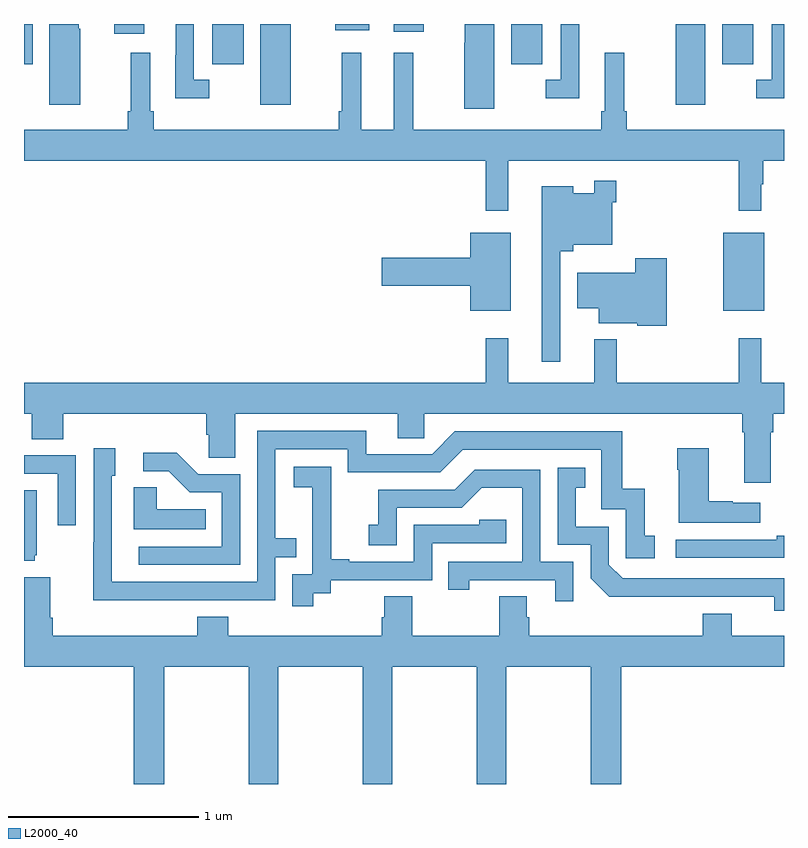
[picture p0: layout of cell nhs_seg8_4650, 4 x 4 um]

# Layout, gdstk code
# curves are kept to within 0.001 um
import gdstk
lib = gdstk.Library(unit=1e-6, precision=1e-09)
def R(c, l, rs):  # rectangles x0, y0, x1, y1
    for r in rs: c.add(gdstk.rectangle(r[:2], r[2:], *l))
def P(c, l, *ps):  # polygons
    for p in ps: c.add(gdstk.Polygon(p, *l))
L2000_40 = (2000, 40)

nhs_seg8_4650 = lib.new_cell('nhs_seg8_4650')
R(nhs_seg8_4650, L2000_40, [(396.68,1102.391,396.895,1102.801), (394.244,1103.475,394.405,1103.9), (396.431,1103.475,396.586,1103.9), (393,1103.688,393.046,1103.9), (393.992,1103.688,394.156,1103.9), (395.564,1103.688,395.728,1103.9), (396.674,1103.688,396.838,1103.9), (393.476,1103.85,393.634,1103.9), (394.946,1103.858,395.104,1103.9), (394.637,1103.867,394.816,1103.9)])
P(nhs_seg8_4650, L2000_40, [(395.476,1103.9),(395.321,1103.9),(395.321,1103.802),(395.318,1103.802),(395.318,1103.454),(395.476,1103.454)],
  [(393.295,1103.874),(393.289,1103.874),(393.289,1103.9),(393.134,1103.9),(393.134,1103.475),(393.295,1103.475)],
  [(393.976,1103.607),(393.894,1103.607),(393.894,1103.9),(393.798,1103.9),(393.798,1103.736),(393.797,1103.736),(393.797,1103.51),(393.976,1103.51)],
  [(395.923,1103.736),(395.922,1103.736),(395.922,1103.9),(395.826,1103.9),(395.826,1103.607),(395.745,1103.607),(395.745,1103.51),(395.923,1103.51)],
  [(397,1103.9),(396.936,1103.9),(396.936,1103.607),(396.855,1103.607),(396.855,1103.51),(397,1103.51)],
  [(395.548,1103.18),(396.763,1103.18),(396.763,1102.917),(396.88,1102.917),(396.88,1103.057),(396.892,1103.057),(396.892,1103.18),(397,1103.18),(397,1103.344),(396.173,1103.344),(396.173,1103.44),(396.158,1103.44),(396.158,1103.749),(396.056,1103.749),(396.056,1103.44),(396.037,1103.44),(396.037,1103.344),(395.048,1103.344),(395.048,1103.749),(394.946,1103.749),(394.946,1103.344),(394.774,1103.344),(394.774,1103.749),(394.672,1103.749),(394.672,1103.44),(394.657,1103.44),(394.657,1103.344),(393.683,1103.344),(393.683,1103.44),(393.664,1103.44),(393.664,1103.749),(393.562,1103.749),(393.562,1103.44),(393.547,1103.44),(393.547,1103.344),(393,1103.344),(393,1103.18),(395.431,1103.18),(395.431,1102.917),(395.548,1102.917)],
  [(395.823,1102.703),(395.89,1102.703),(395.89,1102.739),(396.096,1102.739),(396.096,1102.961),(396.116,1102.961),(396.116,1103.074),(396,1103.074),(396,1103.008),(395.89,1103.008),(395.89,1103.047),(395.726,1103.047),(395.726,1102.122),(395.823,1102.122)],
  [(395.563,1102.801),(395.348,1102.801),(395.348,1102.67),(394.884,1102.67),(394.884,1102.523),(395.348,1102.523),(395.348,1102.391),(395.563,1102.391)],
  [(396.382,1102.666),(396.217,1102.666),(396.217,1102.591),(395.912,1102.591),(395.912,1102.403),(396.026,1102.403),(396.026,1102.325),(396.228,1102.325),(396.228,1102.313),(396.382,1102.313)],
  [(396.763,1102.012),(396.119,1102.012),(396.119,1102.24),(396.002,1102.24),(396.002,1102.012),(395.549,1102.012),(395.549,1102.246),(395.431,1102.246),(395.431,1102.012),(393,1102.012),(393,1101.848),(393.041,1101.848),(393.041,1101.715),(393.206,1101.715),(393.206,1101.848),(393.959,1101.848),(393.959,1101.739),(393.972,1101.739),(393.972,1101.616),(394.111,1101.616),(394.111,1101.848),(394.967,1101.848),(394.967,1101.721),(395.106,1101.721),(395.106,1101.848),(396.779,1101.848),(396.779,1101.752),(396.791,1101.752),(396.791,1101.486),(396.931,1101.486),(396.931,1101.752),(396.944,1101.752),(396.944,1101.848),(397,1101.848),(397,1102.012),(396.881,1102.012),(396.881,1102.246),(396.763,1102.246)],
  [(393.827,1100.868),(394.323,1100.868),(394.323,1101.093),(394.433,1101.093),(394.433,1101.194),(394.323,1101.194),(394.323,1101.663),(394.704,1101.663),(394.704,1101.54),(395.19,1101.54),(395.31,1101.66),(396.039,1101.66),(396.039,1101.345),(396.168,1101.345),(396.168,1101.087),(396.319,1101.087),(396.319,1101.207),(396.266,1101.207),(396.266,1101.454),(396.148,1101.454),(396.148,1101.756),(395.268,1101.756),(395.148,1101.636),(394.801,1101.636),(394.801,1101.759),(394.227,1101.759),(394.227,1100.964),(393.462,1100.964),(393.462,1101.522),(393.481,1101.522),(393.481,1101.667),(393.366,1101.667),(393.366,1101.173),(393.364,1101.173),(393.364,1100.867)],
  [(396.874,1101.379),(396.731,1101.379),(396.731,1101.389),(396.604,1101.389),(396.604,1101.667),(396.439,1101.667),(396.439,1101.554),(396.446,1101.554),(396.446,1101.275),(396.874,1101.275)],
  [(394.137,1101.531),(393.918,1101.531),(393.805,1101.644),(393.627,1101.644),(393.627,1101.546),(393.761,1101.546),(393.872,1101.435),(394.041,1101.435),(394.041,1101.15),(393.603,1101.15),(393.603,1101.054),(394.137,1101.054)],
  [(393.273,1101.63),(393,1101.63),(393,1101.534),(393.177,1101.534),(393.177,1101.261),(393.273,1101.261)],
  [(394.522,1100.905),(394.614,1100.905),(394.614,1100.973),(395.148,1100.973),(395.148,1101.168),(395.537,1101.168),(395.537,1101.291),(395.397,1101.291),(395.397,1101.264),(395.052,1101.264),(395.052,1101.069),(394.711,1101.069),(394.711,1101.082),(394.616,1101.082),(394.616,1101.365),(394.617,1101.365),(394.617,1101.571),(394.419,1101.571),(394.419,1101.461),(394.517,1101.461),(394.517,1101.233),(394.518,1101.233),(394.518,1101.003),(394.413,1101.003),(394.413,1100.835),(394.522,1100.835)],
  [(397,1100.982),(396.15,1100.982),(396.078,1101.054),(396.078,1101.255),(395.905,1101.255),(395.905,1101.459),(395.954,1101.459),(395.954,1101.565),(395.808,1101.565),(395.808,1101.159),(395.982,1101.159),(395.982,1100.982),(396.08,1100.885),(396.948,1100.886),(396.948,1100.813),(397,1100.813)],
  [(395.892,1101.069),(395.718,1101.069),(395.718,1101.555),(395.372,1101.555),(395.267,1101.45),(394.864,1101.45),(394.864,1101.265),(394.815,1101.265),(394.815,1101.156),(394.962,1101.156),(394.962,1101.354),(395.304,1101.354),(395.408,1101.458),(395.622,1101.458),(395.622,1101.069),(395.233,1101.069),(395.233,1100.922),(395.344,1100.922),(395.344,1100.973),(395.795,1100.973),(395.795,1100.862),(395.892,1100.862)],
  [(393.956,1101.346),(393.699,1101.346),(393.699,1101.461),(393.578,1101.461),(393.578,1101.242),(393.956,1101.242)],
  [(393.056,1101.105),(393.067,1101.105),(393.067,1101.445),(393,1101.445),(393,1101.074),(393.056,1101.074)],
  [(397,1101.206),(396.961,1101.206),(396.961,1101.186),(396.429,1101.186),(396.429,1101.09),(397,1101.09)],
  [(394.183,1099.9),(394.338,1099.9),(394.338,1100.516),(394.783,1100.516),(394.783,1099.9),(394.938,1099.9),(394.938,1100.516),(395.383,1100.516),(395.383,1099.9),(395.538,1099.9),(395.538,1100.516),(395.983,1100.516),(395.983,1099.9),(396.143,1099.9),(396.143,1100.516),(397,1100.516),(397,1100.68),(396.724,1100.68),(396.724,1100.797),(396.572,1100.797),(396.572,1100.68),(395.66,1100.68),(395.66,1100.778),(395.647,1100.778),(395.647,1100.888),(395.5,1100.888),(395.5,1100.68),(395.043,1100.68),(395.043,1100.888),(394.895,1100.888),(394.895,1100.778),(394.883,1100.778),(394.883,1100.68),(394.076,1100.68),(394.076,1100.779),(393.911,1100.779),(393.911,1100.68),(393.152,1100.68),(393.152,1100.776),(393.139,1100.776),(393.139,1100.989),(393,1100.989),(393,1100.516),(393.578,1100.516),(393.578,1099.9),(393.738,1099.9),(393.738,1100.516),(394.183,1100.516)])

lib.write_gds('nhs_seg8_4650.gds')
